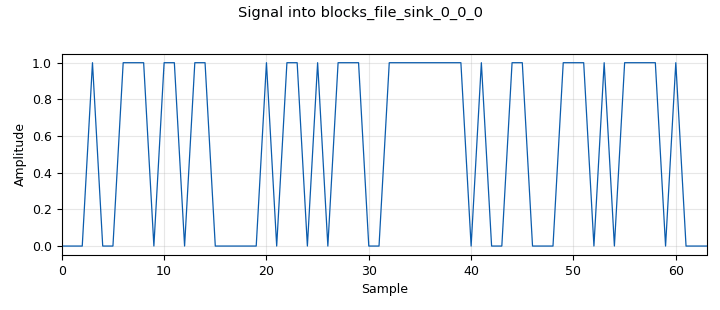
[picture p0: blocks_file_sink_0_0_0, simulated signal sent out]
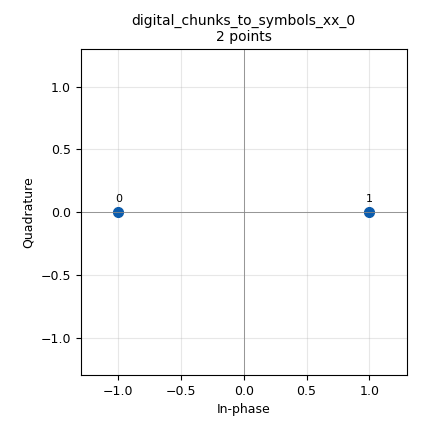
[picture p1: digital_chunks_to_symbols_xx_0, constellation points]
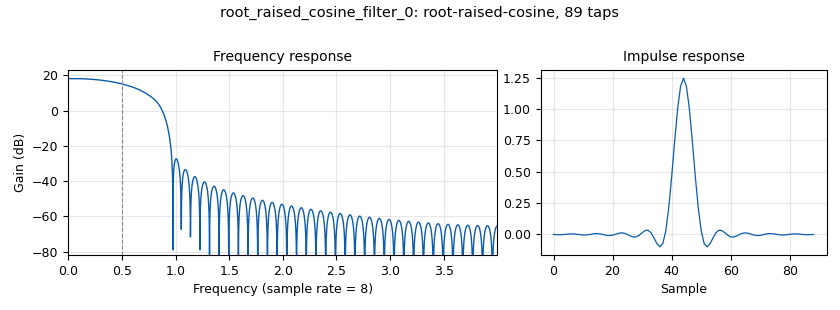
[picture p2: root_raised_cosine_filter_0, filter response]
<?xml version='1.0' encoding='utf-8'?>
<flow_graph>
<block>
<key>options</key>
<param><key>id</key><value>bpsk_tx</value></param>
<param><key>generate_options</key><value>no_gui</value></param>
<param><key>category</key><value>Custom</value></param>
</block>
<block>
<key>variable</key>
<param><key>id</key><value>bandwidth_excess</value></param>
<param><key>value</key><value>.9</value></param>
</block>
<block>
<key>variable</key>
<param><key>id</key><value>payload_mod</value></param>
<param><key>value</key><value>digital.constellation_bpsk()</value></param>
</block>
<block>
<key>variable</key>
<param><key>id</key><value>length_tag_name</value></param>
<param><key>value</key><value>"packet_len"</value></param>
</block>
<block>
<key>variable</key>
<param><key>id</key><value>packet_len</value></param>
<param><key>value</key><value>96</value></param>
</block>
<block>
<key>variable</key>
<param><key>id</key><value>sync_word</value></param>
<param><key>value</key><value>[complex(1, 0), complex(1, 0), complex(-1, 0), complex(-1, 0), complex(-1, 0), complex(-1, 0), complex(1, 0), complex(-1, 0), complex(1, 0), complex(1, 0), complex(-1, 0), complex(1, 0), complex(1, 0), complex(1, 0), complex(-1, 0), complex(-1, 0), complex(1, 0), complex(-1, 0), complex(1, 0), complex(-1, 0), complex(-1, 0), complex(1, 0), complex(1, 0), complex(-1, 0), complex(-1, 0), complex(1, 0), complex(1, 0), complex(-1, 0), complex(1, 0), complex(1, 0), complex(1, 0), complex(-1, 0), complex(1, 0), complex(-1, 0), complex(1, 0), complex(1, 0), complex(1, 0), complex(-1, 0), complex(-1, 0), complex(-1, 0), complex(-1, 0), complex(1, 0), complex(-1, 0), complex(-1, 0), complex(-1, 0), complex(-1, 0), complex(-1, 0), complex(1, 0), complex(1, 0), complex(-1, 0)]</value></param>
</block>
<block>
<key>variable</key>
<param><key>id</key><value>samp_per_symb</value></param>
<param><key>value</key><value>8</value></param>
</block>
<block>
<key>variable</key>
<param><key>id</key><value>samp_rate</value></param>
<param><key>value</key><value>100000</value></param>
</block>
<block>
<key>digital_chunks_to_symbols_xx</key>
<param><key>id</key><value>digital_chunks_to_symbols_xx_0</value></param>
<param><key>in_type</key><value>byte</value></param>
<param><key>out_type</key><value>complex</value></param>
<param><key>symbol_table</key><value>payload_mod.points()</value></param>
<param><key>dimension</key><value>1</value></param>
</block>
<block>
<key>import</key>
<param><key>id</key><value>import_1</value></param>
<param><key>import</key><value>from gnuradio.digital.utils import tagged_streams</value></param>
</block>
<block>
<key>blocks_vector_source_x</key>
<param><key>id</key><value>blocks_vector_source_x_0</value></param>
<param><key>type</key><value>complex</value></param>
<param><key>vector</key><value>sync_word</value></param>
<param><key>repeat</key><value>True</value></param>
</block>
<block>
<key>analog_random_source_x</key>
<param><key>id</key><value>analog_random_source_x_0</value></param>
<param><key>type</key><value>byte</value></param>
<param><key>min</key><value>0</value></param>
<param><key>max</key><value>2</value></param>
<param><key>num_samps</key><value>packet_len</value></param>
<param><key>repeat</key><value>True</value></param>
</block>
<block>
<key>blocks_file_sink</key>
<param><key>id</key><value>blocks_file_sink_0_0_0</value></param>
<param><key>file</key><value>/home/csmedina/WiComModules/gr-dctk/build/tx_bits.txt</value></param>
<param><key>type</key><value>byte</value></param>
</block>
<block>
<key>blocks_file_sink</key>
<param><key>id</key><value>blocks_file_sink_0</value></param>
<param><key>file</key><value>/home/csmedina/WiComModules/gr-dctk/build/tx_2usrp.txt</value></param>
<param><key>type</key><value>complex</value></param>
</block>
<block>
<key>dctk_generic_tx_path</key>
<param><key>id</key><value>dctk_generic_tx_path_0</value></param>
<param><key>payload_packet_len</key><value>packet_len</value></param>
<param><key>sync_packet_len</key><value>len(sync_word)</value></param>
</block>
<block>
<key>root_raised_cosine_filter</key>
<param><key>id</key><value>root_raised_cosine_filter_0</value></param>
<param><key>type</key><value>interp_fir_filter_ccf</value></param>
<param><key>interp</key><value>samp_per_symb</value></param>
<param><key>gain</key><value>samp_per_symb</value></param>
<param><key>samp_rate</key><value>samp_per_symb</value></param>
<param><key>sym_rate</key><value>1</value></param>
<param><key>alpha</key><value>bandwidth_excess</value></param>
<param><key>ntaps</key><value>11*samp_per_symb</value></param>
</block>
<block>
<key>blocks_file_sink</key>
<param><key>id</key><value>blocks_file_sink_0_0</value></param>
<param><key>file</key><value>/home/csmedina/WiComModules/gr-dctk/build/tx_symbols.txt</value></param>
<param><key>type</key><value>complex</value></param>
</block>
<block>
<key>blocks_throttle</key>
<param><key>id</key><value>blocks_throttle_0</value></param>
<param><key>type</key><value>complex</value></param>
<param><key>samples_per_second</key><value>samp_rate</value></param>
</block>
<connection><source_block_id>blocks_vector_source_x_0</source_block_id><sink_block_id>dctk_generic_tx_path_0</sink_block_id><source_key>0</source_key><sink_key>0</sink_key></connection>
<connection><source_block_id>digital_chunks_to_symbols_xx_0</source_block_id><sink_block_id>dctk_generic_tx_path_0</sink_block_id><source_key>0</source_key><sink_key>1</sink_key></connection>
<connection><source_block_id>analog_random_source_x_0</source_block_id><sink_block_id>digital_chunks_to_symbols_xx_0</sink_block_id><source_key>0</source_key><sink_key>0</sink_key></connection>
<connection><source_block_id>analog_random_source_x_0</source_block_id><sink_block_id>blocks_file_sink_0_0_0</sink_block_id><source_key>0</source_key><sink_key>0</sink_key></connection>
<connection><source_block_id>root_raised_cosine_filter_0</source_block_id><sink_block_id>blocks_file_sink_0</sink_block_id><source_key>0</source_key><sink_key>0</sink_key></connection>
<connection><source_block_id>dctk_generic_tx_path_0</source_block_id><sink_block_id>blocks_throttle_0</sink_block_id><source_key>0</source_key><sink_key>0</sink_key></connection>
<connection><source_block_id>blocks_throttle_0</source_block_id><sink_block_id>blocks_file_sink_0_0</sink_block_id><source_key>0</source_key><sink_key>0</sink_key></connection>
<connection><source_block_id>blocks_throttle_0</source_block_id><sink_block_id>root_raised_cosine_filter_0</sink_block_id><source_key>0</source_key><sink_key>0</sink_key></connection>
</flow_graph>
